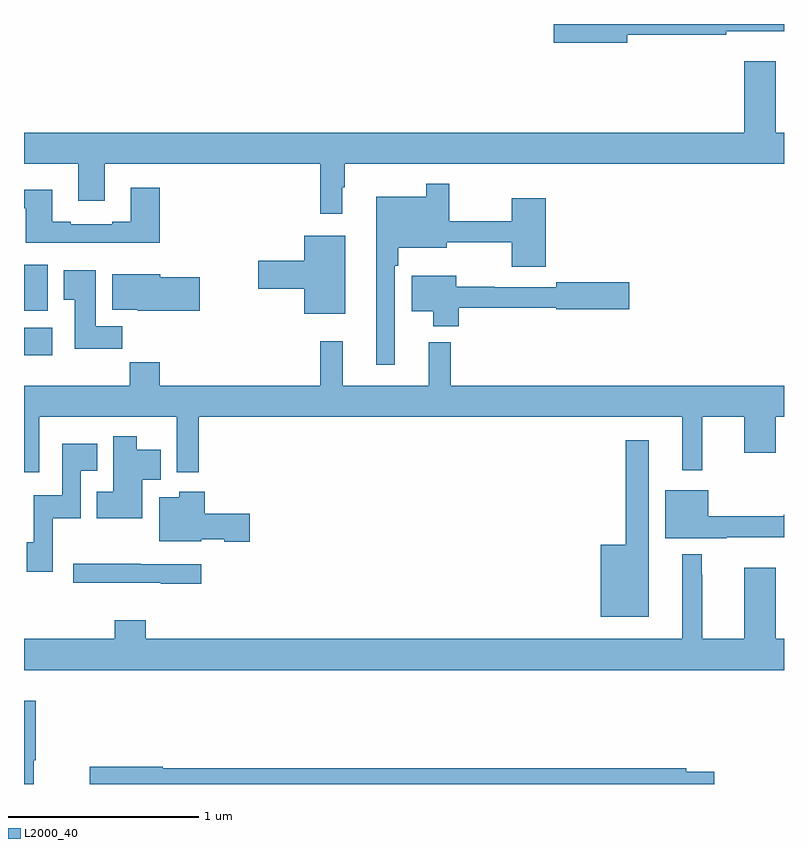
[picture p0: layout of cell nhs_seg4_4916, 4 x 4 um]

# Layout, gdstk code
import gdstk
lib = gdstk.Library(unit=1e-6, precision=1e-09)
def R(c, l, rs):  # rectangles x0, y0, x1, y1
    for r in rs: c.add(gdstk.rectangle(r[:2], r[2:], *l))
def P(c, l, *ps):  # polygons
    for p in ps: c.add(gdstk.Polygon(p, *l))
L2000_40 = (2000, 40)

nhs_seg4_4916 = lib.new_cell('nhs_seg4_4916')
R(nhs_seg4_4916, L2000_40, [(377,785.156,377.149,785.302), (377,785.39,377.125,785.632)])
P(nhs_seg4_4916, L2000_40, [(380.176,786.844),(380.696,786.844),(380.696,786.863),(381,786.863),(381,786.9),(379.788,786.9),(379.788,786.802),(380.176,786.802)],
  [(378.676,786.041),(378.688,786.041),(378.688,786.164),(381,786.164),(381,786.328),(380.956,786.328),(380.956,786.703),(380.792,786.703),(380.792,786.328),(377,786.328),(377,786.164),(377.285,786.164),(377.285,785.97),(377.425,785.97),(377.425,786.164),(378.559,786.164),(378.559,785.901),(378.676,785.901)],
  [(378.951,785.627),(378.971,785.627),(378.971,785.723),(379.225,785.723),(379.225,785.752),(379.567,785.752),(379.567,785.622),(379.745,785.622),(379.745,785.983),(379.567,785.983),(379.567,785.863),(379.237,785.863),(379.237,786.058),(379.116,786.058),(379.116,785.992),(378.854,785.992),(378.854,785.106),(378.951,785.106)],
  [(377.714,786.037),(377.561,786.037),(377.561,785.86),(377.465,785.86),(377.465,785.847),(377.245,785.847),(377.245,785.86),(377.149,785.86),(377.149,786.028),(377,786.028),(377,785.931),(377.009,785.931),(377.009,785.75),(377.714,785.75)],
  [(378.691,785.785),(378.476,785.785),(378.476,785.654),(378.234,785.654),(378.234,785.507),(378.476,785.507),(378.476,785.375),(378.691,785.375)],
  [(377.516,785.308),(377.377,785.308),(377.377,785.605),(377.21,785.605),(377.21,785.449),(377.267,785.449),(377.267,785.19),(377.516,785.19)],
  [(377.926,785.567),(377.716,785.567),(377.716,785.584),(377.465,785.584),(377.465,785.396),(377.598,785.396),(377.598,785.39),(377.926,785.39)],
  [(379.289,785.406),(379.8,785.406),(379.8,785.398),(380.185,785.398),(380.185,785.54),(379.8,785.54),(379.8,785.514),(379.478,785.514),(379.478,785.517),(379.276,785.517),(379.276,785.575),(379.04,785.575),(379.04,785.387),(379.154,785.387),(379.154,785.309),(379.289,785.309)],
  [(377.079,784.832),(377.805,784.832),(377.805,784.542),(377.921,784.542),(377.921,784.832),(380.465,784.832),(380.465,784.551),(380.569,784.551),(380.569,784.832),(380.792,784.832),(380.792,784.644),(380.956,784.644),(380.956,784.832),(381,784.832),(381,784.996),(379.247,784.996),(379.247,785.224),(379.13,785.224),(379.13,784.996),(378.677,784.996),(378.677,785.23),(378.559,785.23),(378.559,784.996),(377.714,784.996),(377.714,785.12),(377.557,785.12),(377.557,784.996),(377,784.996),(377,784.542),(377.079,784.542)],
  [(377.623,784.502),(377.72,784.502),(377.72,784.66),(377.593,784.66),(377.593,784.729),(377.471,784.729),(377.471,784.438),(377.383,784.438),(377.383,784.298),(377.623,784.298)],
  [(380.287,784.708),(380.166,784.708),(380.166,784.159),(380.036,784.159),(380.036,783.779),(380.287,783.779)],
  [(377.151,784.298),(377.298,784.298),(377.298,784.55),(377.386,784.55),(377.386,784.69),(377.202,784.69),(377.202,784.42),(377.052,784.42),(377.052,784.173),(377.015,784.173),(377.015,784.017),(377.151,784.017)],
  [(380.698,784.199),(381,784.199),(381,784.316),(380.998,784.316),(380.998,784.309),(380.602,784.309),(380.602,784.447),(380.375,784.447),(380.375,784.193),(380.698,784.193)],
  [(378.187,784.322),(377.951,784.322),(377.951,784.438),(377.816,784.438),(377.816,784.408),(377.711,784.408),(377.711,784.178),(377.934,784.178),(377.934,784.187),(378.054,784.187),(378.054,784.175),(378.187,784.175)],
  [(381,783.664),(380.956,783.664),(380.956,784.039),(380.792,784.039),(380.792,783.664),(380.569,783.664),(380.569,784.001),(380.567,784.001),(380.567,784.108),(380.465,784.108),(380.465,783.664),(377.642,783.664),(377.642,783.763),(377.477,783.763),(377.477,783.664),(377,783.664),(377,783.5),(381,783.5)],
  [(377.932,784.056),(377.615,784.056),(377.615,784.059),(377.259,784.059),(377.259,783.959),(377.719,783.959),(377.719,783.955),(377.932,783.955)],
  [(377.05,783.024),(377.063,783.024),(377.063,783.337),(377,783.337),(377,782.9),(377.05,782.9)],
  [(380.633,782.964),(380.486,782.964),(380.486,782.984),(377.73,782.984),(377.73,782.99),(377.346,782.99),(377.346,782.9),(380.633,782.9)])

lib.write_gds('nhs_seg4_4916.gds')
